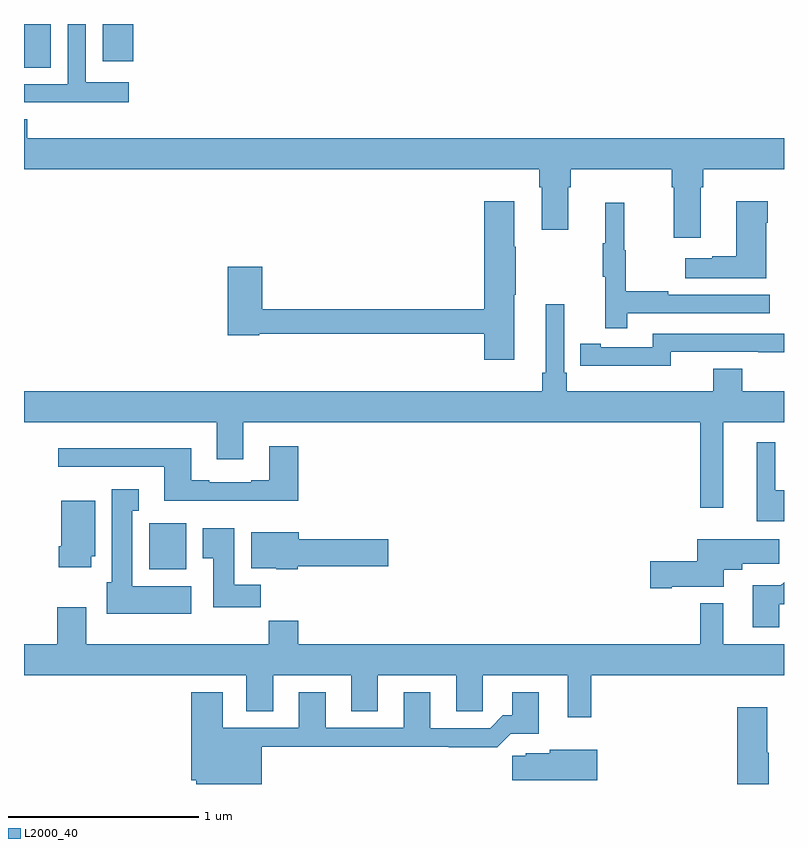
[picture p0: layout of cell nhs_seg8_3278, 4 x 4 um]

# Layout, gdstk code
import gdstk
lib = gdstk.Library(unit=1e-6, precision=1e-09)
def R(c, l, rs):  # rectangles x0, y0, x1, y1
    for r in rs: c.add(gdstk.rectangle(r[:2], r[2:], *l))
def P(c, l, *ps):  # polygons
    for p in ps: c.add(gdstk.Polygon(p, *l))
L2000_40 = (2000, 40)

nhs_seg8_3278 = lib.new_cell('nhs_seg8_3278')
R(nhs_seg8_3278, L2000_40, [(313.658,1145.03,313.855,1145.272), (313,1147.669,313.141,1147.9), (313.415,1147.704,313.576,1147.9)])
P(nhs_seg8_3278, L2000_40, [(313.552,1147.594),(313.326,1147.594),(313.326,1147.9),(313.23,1147.9),(313.23,1147.584),(313,1147.584),(313,1147.488),(313.133,1147.488),(313.133,1147.487),(313.552,1147.487)],
  [(316.561,1147.04),(316.574,1147.04),(316.574,1147.136),(317,1147.136),(317,1147.3),(313.016,1147.3),(313.016,1147.399),(313,1147.399),(313,1147.136),(315.713,1147.136),(315.713,1147.04),(315.725,1147.04),(315.725,1146.816),(315.865,1146.816),(315.865,1147.04),(315.878,1147.04),(315.878,1147.136),(316.409,1147.136),(316.409,1147.04),(316.421,1147.04),(316.421,1146.774),(316.561,1146.774)],
  [(316.906,1146.854),(316.914,1146.854),(316.914,1146.967),(316.748,1146.967),(316.748,1146.677),(316.622,1146.677),(316.622,1146.667),(316.479,1146.667),(316.479,1146.563),(316.906,1146.563)],
  [(315.58,1146.475),(315.588,1146.475),(315.588,1146.728),(315.58,1146.728),(315.58,1146.967),(315.422,1146.967),(315.422,1146.398),(314.255,1146.398),(314.255,1146.622),(314.072,1146.622),(314.072,1146.262),(314.238,1146.262),(314.238,1146.27),(315.422,1146.27),(315.422,1146.132),(315.58,1146.132)],
  [(316.175,1146.378),(316.924,1146.378),(316.924,1146.474),(316.391,1146.474),(316.391,1146.494),(316.168,1146.494),(316.168,1146.708),(316.16,1146.708),(316.16,1146.958),(316.058,1146.958),(316.058,1146.745),(316.047,1146.745),(316.047,1146.571),(316.058,1146.571),(316.058,1146.3),(316.175,1146.3)],
  [(316.681,1145.804),(317,1145.804),(317,1145.968),(316.781,1145.968),(316.781,1146.085),(316.628,1146.085),(316.628,1145.968),(315.857,1145.968),(315.857,1146.064),(315.843,1146.064),(315.843,1146.424),(315.746,1146.424),(315.746,1146.064),(315.727,1146.064),(315.727,1145.968),(313,1145.968),(313,1145.804),(314.015,1145.804),(314.015,1145.61),(314.155,1145.61),(314.155,1145.804),(316.56,1145.804),(316.56,1145.355),(316.681,1145.355)],
  [(316.404,1146.174),(316.864,1146.174),(316.864,1146.173),(317,1146.173),(317,1146.27),(316.308,1146.27),(316.308,1146.198),(316.036,1146.198),(316.036,1146.218),(315.928,1146.218),(315.928,1146.102),(316.036,1146.102),(316.036,1146.101),(316.404,1146.101)],
  [(317,1145.446),(316.954,1145.446),(316.954,1145.698),(316.856,1145.698),(316.856,1145.282),(317,1145.282)],
  [(314.444,1145.677),(314.291,1145.677),(314.291,1145.5),(314.195,1145.5),(314.195,1145.487),(313.975,1145.487),(313.975,1145.5),(313.879,1145.5),(313.879,1145.668),(313.179,1145.668),(313.179,1145.571),(313.739,1145.571),(313.739,1145.39),(314.444,1145.39)],
  [(313.879,1144.942),(313.57,1144.942),(313.57,1145.339),(313.603,1145.339),(313.603,1145.452),(313.463,1145.452),(313.463,1144.962),(313.436,1144.962),(313.436,1144.796),(313.879,1144.796)],
  [(313.354,1145.1),(313.375,1145.1),(313.375,1145.392),(313.196,1145.392),(313.196,1145.152),(313.184,1145.152),(313.184,1145.04),(313.354,1145.04)],
  [(314.246,1144.948),(314.107,1144.948),(314.107,1145.245),(313.94,1145.245),(313.94,1145.089),(313.997,1145.089),(313.997,1144.83),(314.246,1144.83)],
  [(314.442,1145.047),(314.917,1145.047),(314.917,1145.189),(314.446,1145.189),(314.446,1145.224),(314.195,1145.224),(314.195,1145.036),(314.328,1145.036),(314.328,1145.03),(314.442,1145.03)],
  [(316.408,1144.937),(316.684,1144.937),(316.684,1145.027),(316.78,1145.027),(316.78,1145.059),(316.975,1145.059),(316.975,1145.188),(316.544,1145.188),(316.544,1145.072),(316.296,1145.072),(316.296,1144.93),(316.408,1144.93)],
  [(316.975,1144.847),(317,1144.847),(317,1144.961),(316.984,1144.945),(316.835,1144.945),(316.835,1144.725),(316.975,1144.725)],
  [(314.311,1144.472),(314.723,1144.472),(314.723,1144.282),(314.863,1144.282),(314.863,1144.472),(315.275,1144.472),(315.275,1144.282),(315.414,1144.282),(315.414,1144.472),(315.863,1144.472),(315.863,1144.251),(315.985,1144.251),(315.985,1144.472),(317,1144.472),(317,1144.636),(316.681,1144.636),(316.681,1144.852),(316.56,1144.852),(316.56,1144.636),(314.444,1144.636),(314.444,1144.76),(314.287,1144.76),(314.287,1144.636),(313.327,1144.636),(313.327,1144.831),(313.175,1144.831),(313.175,1144.636),(313,1144.636),(313,1144.472),(314.171,1144.472),(314.171,1144.282),(314.311,1144.282)],
  [(314.251,1144.096),(315.235,1144.096),(315.235,1144.094),(315.491,1144.094),(315.561,1144.164),(315.709,1144.164),(315.709,1144.384),(315.569,1144.384),(315.569,1144.261),(315.52,1144.261),(315.453,1144.194),(315.139,1144.194),(315.139,1144.384),(314.999,1144.384),(314.999,1144.197),(314.587,1144.197),(314.587,1144.384),(314.447,1144.384),(314.447,1144.197),(314.047,1144.197),(314.047,1144.384),(313.88,1144.384),(313.88,1143.92),(313.907,1143.92),(313.907,1143.9),(314.251,1143.9)],
  [(316.92,1144.064),(316.912,1144.064),(316.912,1144.303),(316.754,1144.303),(316.754,1143.9),(316.92,1143.9)],
  [(316.018,1144.081),(315.768,1144.081),(315.768,1144.063),(315.642,1144.063),(315.642,1144.049),(315.57,1144.049),(315.57,1143.92),(316.018,1143.92)])

lib.write_gds('nhs_seg8_3278.gds')
